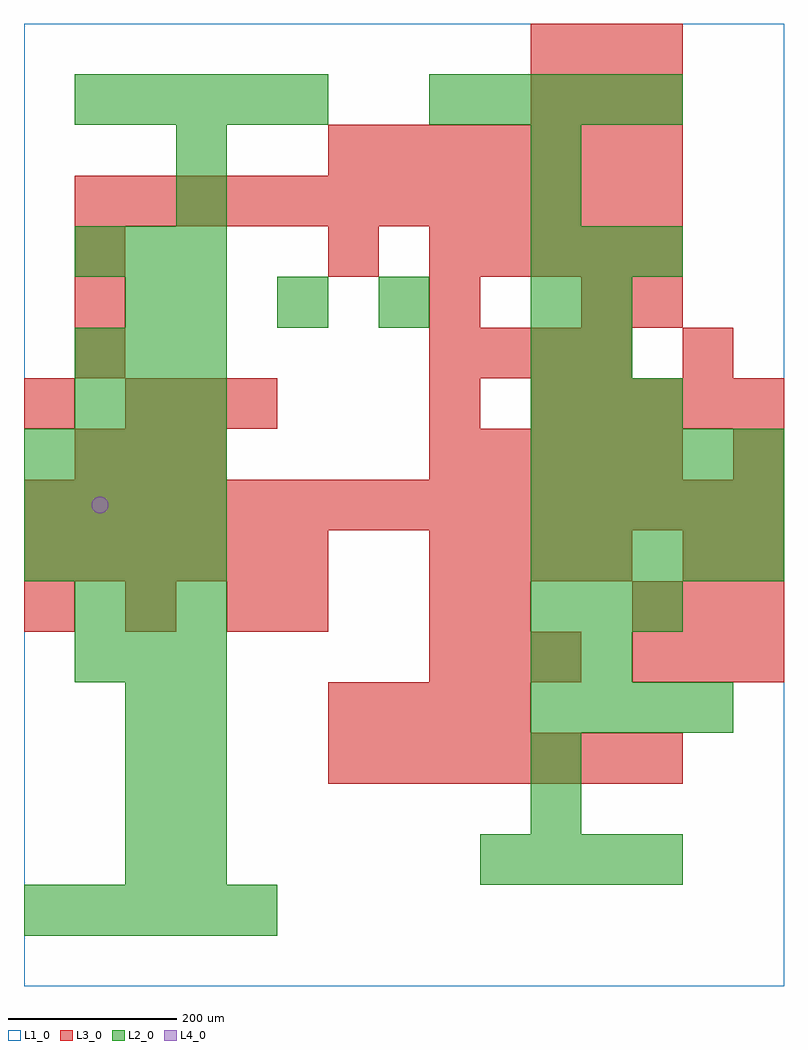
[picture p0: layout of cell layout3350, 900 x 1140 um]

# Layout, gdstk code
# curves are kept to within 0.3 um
import gdstk
lib = gdstk.Library(unit=1e-6, precision=1e-09)
def R(c, l, rs):  # rectangles x0, y0, x1, y1
    for r in rs: c.add(gdstk.rectangle(r[:2], r[2:], *l))
def A(c, l, x, y, w, h, nx, ny, dx, dy):  # array of equal rectangles
    R(c, l, [(x+i*dx, y+j*dy, x+i*dx+w, y+j*dy+h) for i in range(nx) for j in range(ny)])
def P(c, l, *ps):  # polygons
    for p in ps: c.add(gdstk.Polygon(p, *l))
L1_0 = (1, 0)
L2_0 = (2, 0)
L3_0 = (3, 0)
L4_0 = (4, 0)

layout3350 = lib.new_cell('layout3350')
R(layout3350, L1_0, [(0,0,900,1140)])
A(layout3350, L2_0, 0, 60, 60, 60, 5, 1, 60, 0)
A(layout3350, L2_0, 120, 120, 60, 60, 1, 4, 0, 60)
A(layout3350, L2_0, 180, 120, 60, 60, 1, 4, 0, 60)
A(layout3350, L2_0, 540, 120, 60, 60, 4, 1, 60, 0)
A(layout3350, L2_0, 600, 300, 60, 60, 4, 1, 60, 0)
A(layout3350, L2_0, 60, 360, 60, 60, 3, 2, 60, 60)
A(layout3350, L2_0, 600, 420, 60, 60, 3, 2, 60, 240)
A(layout3350, L2_0, 0, 480, 60, 60, 4, 3, 60, 60)
A(layout3350, L2_0, 600, 480, 60, 60, 5, 3, 60, 60)
A(layout3350, L2_0, 60, 660, 60, 60, 3, 2, 60, 60)
A(layout3350, L2_0, 180, 780, 60, 60, 3, 1, 120, 0)
A(layout3350, L2_0, 60, 840, 60, 60, 3, 1, 60, 0)
A(layout3350, L2_0, 600, 840, 60, 60, 3, 1, 60, 0)
A(layout3350, L2_0, 60, 1020, 60, 60, 5, 1, 60, 0)
A(layout3350, L2_0, 480, 1020, 60, 60, 5, 1, 60, 0)
R(layout3350, L2_0, [(600,180,660,240), (600,240,660,300), (600,360,660,420), (660,360,720,420), (600,720,660,780), (660,720,720,780), (120,780,180,840), (600,780,660,840), (660,780,720,840), (180,900,240,960), (600,900,660,960), (180,960,240,1020), (600,960,660,1020)])
A(layout3350, L3_0, 360, 240, 60, 60, 7, 2, 60, 720)
A(layout3350, L3_0, 360, 300, 60, 60, 4, 1, 60, 0)
A(layout3350, L3_0, 480, 360, 60, 60, 3, 1, 60, 0)
A(layout3350, L3_0, 720, 360, 60, 60, 3, 2, 60, 60)
A(layout3350, L3_0, 0, 420, 60, 60, 3, 1, 120, 0)
A(layout3350, L3_0, 0, 480, 60, 60, 6, 1, 60, 0)
A(layout3350, L3_0, 480, 480, 60, 60, 4, 2, 60, 240)
A(layout3350, L3_0, 0, 540, 60, 60, 15, 1, 60, 0)
A(layout3350, L3_0, 60, 600, 60, 60, 3, 1, 60, 0)
A(layout3350, L3_0, 480, 600, 60, 60, 5, 2, 60, 240)
A(layout3350, L3_0, 120, 660, 60, 60, 3, 1, 60, 0)
A(layout3350, L3_0, 600, 660, 60, 60, 5, 1, 60, 0)
A(layout3350, L3_0, 60, 720, 60, 60, 1, 3, 0, 60)
A(layout3350, L3_0, 60, 900, 60, 60, 12, 1, 60, 0)
A(layout3350, L3_0, 600, 1020, 60, 60, 3, 2, 60, 60)
R(layout3350, L3_0, [(300,420,360,480), (480,420,540,480), (540,420,600,480), (780,480,840,540), (840,480,900,540), (840,600,900,660), (0,660,60,720), (480,660,540,720), (780,720,840,780), (480,780,540,840), (660,780,720,840), (720,780,780,840), (360,840,420,900)])
P(layout3350, L4_0, [(100,570),(99.239,573.827),(97.071,577.071),(93.827,579.239),(90,580),(86.173,579.239),(82.929,577.071),(80.761,573.827),(80,570),(80.761,566.173),(82.929,562.929),(86.173,560.761),(90,560),(93.827,560.761),(97.071,562.929),(99.239,566.173)])

lib.write_gds('layout3350.gds')
